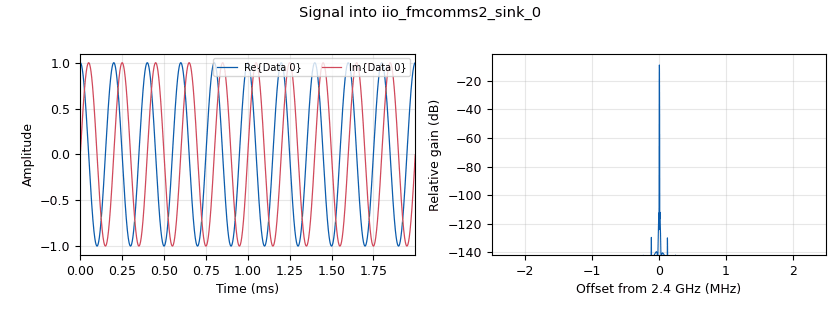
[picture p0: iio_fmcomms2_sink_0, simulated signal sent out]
options:
  parameters:
    generate_options: qt_gui
    id: fmcomms3_tx_usrp_rx
    output_language: python
    title: Not titled yet
  states: {}

blocks:
- name: samp_rate
  id: variable
  parameters:
    value: '5000000'
  states: {}
- name: analog_sig_source_x_0
  id: analog_sig_source_x
  parameters:
    amp: '1'
    freq: 5e3
    offset: '0'
    phase: '0'
    samp_rate: samp_rate
    type: complex
    waveform: analog.GR_COS_WAVE
  states: {}
- name: iio_fmcomms2_sink_0
  id: iio_fmcomms2_sink
  parameters:
    attenuation1: '0'
    bandwidth: '20000000'
    buffer_size: '32768'
    cyclic: 'False'
    filter_source: '''Auto'''
    frequency: '2400000000'
    rf_port_select: '''A'''
    samplerate: samp_rate
    tx1_en: 'True'
    tx2_en: 'False'
    type: fc32
    uri: ip:192.168.20.2
  states: {}
- name: qtgui_sink_x_0
  id: qtgui_sink_x
  parameters:
    bw: samp_rate
    fc: '0'
    fftsize: '1024'
    type: complex
  states: {}
- name: uhd_usrp_source_0
  id: uhd_usrp_source
  parameters:
    ant0: '"RX2"'
    center_freq0: 2400e6
    dev_addr: '"serial=323573C"'
    gain0: '35'
    otw: sc16
    samp_rate: samp_rate
    sync: none
    type: fc32
  states: {}

connections:
- [analog_sig_source_x_0, '0', iio_fmcomms2_sink_0, '0']
- [uhd_usrp_source_0, '0', qtgui_sink_x_0, '0']

metadata:
  file_format: 1
